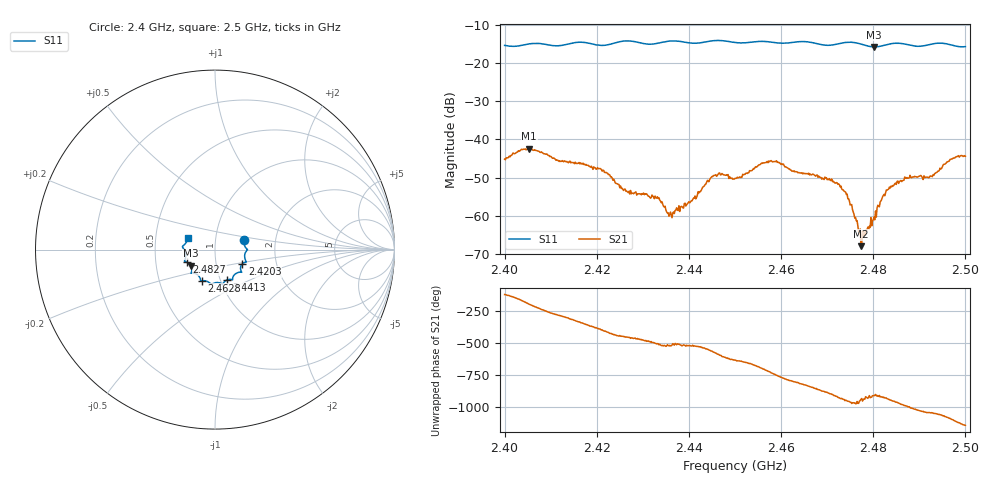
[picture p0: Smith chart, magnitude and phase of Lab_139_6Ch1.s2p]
# Hz S RI R 50
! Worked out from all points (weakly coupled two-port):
!   601 points, 2.4 GHz to 2.5 GHz, reference 50 ohm
!   highest |S21| = -42.40 dB at 2.4053 GHz (marker M1); lowest = -68.0 dB at 2.4773 GHz (marker M2)
!   lowest |S11| = -15.8 dB at 2.4802 GHz (marker M3), VSWR 1.39, Z = 37.5 - j6.91 ohm
!   |S11| at or under -10 dB: start of sweep to end of sweep
!   S12 and S22 are empty: the file has one direction only
!   S11 on the Smith chart (normalised r, x): 2.4 GHz: 1.38, +0.15; 2.4203 GHz: 1.34, -0.22; 2.4413 GHz: 1.08, -0.38; 2.4628 GHz: 0.82, -0.29; 2.4827 GHz: 0.72, -0.10; 2.5 GHz: 0.73, +0.10
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2.4e9  0.162 0.0529  -0.00319 -0.0045  0 0  0 0
2.405333e9  0.1782 0.00255  -0.00711 0.00265  0 0  0 0
2.416667e9  0.1743 -0.0694  0.00462 0.00127  0 0  0 0
2.420333e9  0.1523 -0.0796  0.00362 -0.00196  0 0  0 0
2.426667e9  0.1492 -0.1261  -0.000165 -0.00204  0 0  0 0
2.433333e9  0.1002 -0.1522  -0.00141 -0.000913  0 0  0 0
2.435833e9  0.0981 -0.1675  -0.000963 -0.000367  0 0  0 0
2.441333e9  0.0671 -0.1691  -0.00174 -0.000488  0 0  0 0
2.445333e9  0.0432 -0.1915  -0.00288 0.00174  0 0  0 0
2.45e9  0.0243 -0.1846  0.000135 0.00308  0 0  0 0
2.4575e9  -0.0268 -0.1874  0.00508 -0.000375  0 0  0 0
2.462833e9  -0.0719 -0.1735  0.00061 -0.00382  0 0  0 0
2.466667e9  -0.0805 -0.1676  -0.00193 -0.00284  0 0  0 0
2.4735e9  -0.1301 -0.1307  -0.00175 0.00129  0 0  0 0
2.477333e9  -0.13 -0.1207  -0.000317 0.000241  0 0  0 0
2.480167e9  -0.1358 -0.0897  -0.00095 0.000154  0 0  0 0
2.482667e9  -0.1578 -0.0706  -0.00178 0.000865  0 0  0 0
2.483333e9  -0.163 -0.0685  -0.00176 0.00136  0 0  0 0
2.4875e9  -0.1659 -0.0525  0.000206 0.0031  0 0  0 0
2.492333e9  -0.1754 0.00523  0.00256 0.00208  0 0  0 0
2.497e9  -0.17 0.0281  0.00543 -0.00114  0 0  0 0
2.5e9  -0.151 0.0647  0.00304 -0.00519  0 0  0 0
